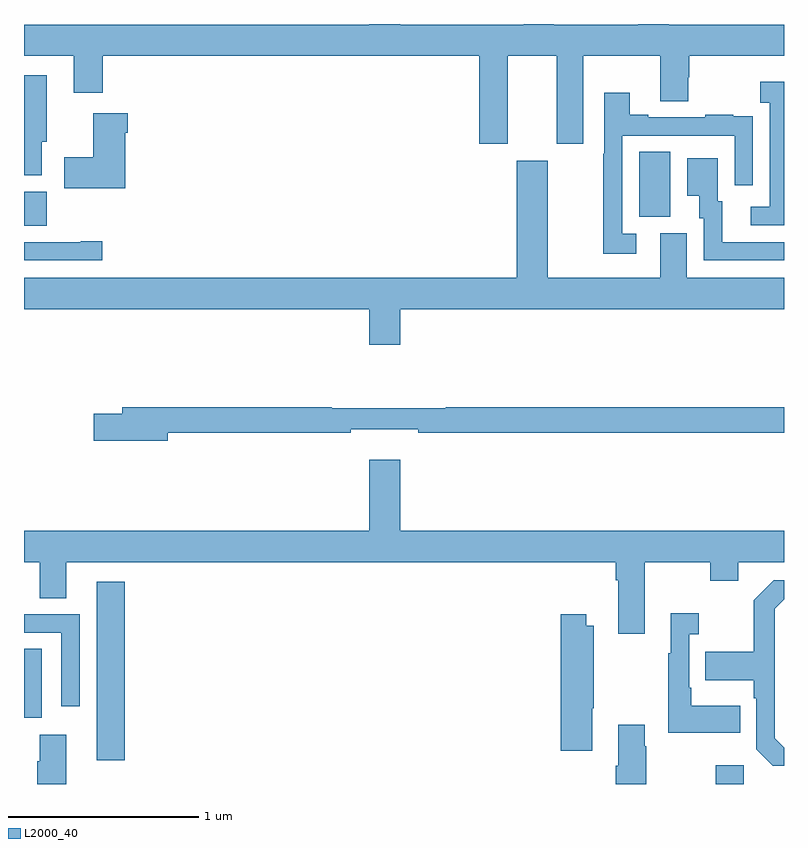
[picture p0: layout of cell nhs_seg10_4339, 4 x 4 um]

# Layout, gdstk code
import gdstk
lib = gdstk.Library(unit=1e-6, precision=1e-09)
def R(c, l, rs):  # rectangles x0, y0, x1, y1
    for r in rs: c.add(gdstk.rectangle(r[:2], r[2:], *l))
def P(c, l, *ps):  # polygons
    for p in ps: c.add(gdstk.Polygon(p, *l))
L2000_40 = (2000, 40)

nhs_seg10_4339 = lib.new_cell('nhs_seg10_4339')
R(nhs_seg10_4339, L2000_40, [(358.642,1280.5,358.788,1280.599), (355.382,1280.625,355.529,1281.565), (355,1280.85,355.093,1281.212), (355,1283.437,355.121,1283.616), (358.238,1283.485,358.402,1283.828)])
P(nhs_seg10_4339, L2000_40, [(357.547,1284.332),(357.803,1284.332),(357.803,1283.871),(357.943,1283.871),(357.943,1284.332),(358.349,1284.332),(358.349,1284.094),(358.497,1284.094),(358.497,1284.219),(358.502,1284.219),(358.502,1284.332),(359,1284.332),(359,1284.496),(358.394,1284.496),(358.394,1284.5),(358.234,1284.5),(358.234,1284.496),(357.789,1284.496),(357.789,1284.5),(357.629,1284.5),(357.629,1284.496),(356.98,1284.496),(356.98,1284.5),(356.816,1284.5),(356.816,1284.496),(355,1284.496),(355,1284.332),(355.262,1284.332),(355.262,1284.138),(355.415,1284.138),(355.415,1284.332),(357.395,1284.332),(357.395,1283.871),(357.547,1283.871)],
  [(355.093,1283.88),(355.12,1283.88),(355.12,1284.229),(355,1284.229),(355,1283.705),(355.093,1283.705)],
  [(359,1284.196),(358.875,1284.196),(358.875,1284.086),(358.926,1284.086),(358.926,1283.538),(358.824,1283.538),(358.824,1283.442),(359,1283.442)],
  [(358.222,1283.397),(358.149,1283.397),(358.149,1283.913),(358.74,1283.913),(358.74,1283.652),(358.836,1283.652),(358.836,1283.906),(358.835,1283.906),(358.835,1284.015),(358.733,1284.015),(358.733,1284.022),(358.585,1284.022),(358.585,1284.009),(358.285,1284.009),(358.285,1284.022),(358.189,1284.022),(358.189,1284.139),(358.053,1284.139),(358.053,1283.816),(358.048,1283.816),(358.048,1283.292),(358.222,1283.292)],
  [(355.534,1283.927),(355.547,1283.927),(355.547,1284.031),(355.364,1284.031),(355.364,1283.799),(355.212,1283.799),(355.212,1283.636),(355.534,1283.636)],
  [(359,1283.352),(358.675,1283.352),(358.675,1283.568),(358.651,1283.568),(358.651,1283.794),(358.49,1283.794),(358.49,1283.597),(358.553,1283.597),(358.553,1283.478),(358.578,1283.478),(358.578,1283.256),(359,1283.256)],
  [(356.98,1283),(359,1283),(359,1283.164),(358.489,1283.164),(358.489,1283.4),(358.349,1283.4),(358.349,1283.164),(357.757,1283.164),(357.757,1283.779),(357.593,1283.779),(357.593,1283.164),(355,1283.164),(355,1283),(356.816,1283),(356.816,1282.812),(356.98,1282.812)],
  [(355.411,1283.357),(355.298,1283.357),(355.298,1283.352),(355,1283.352),(355,1283.256),(355.411,1283.256)],
  [(355.756,1282.348),(356.72,1282.348),(356.72,1282.367),(357.076,1282.367),(357.076,1282.348),(359,1282.348),(359,1282.484),(357.221,1282.484),(357.221,1282.477),(356.621,1282.477),(356.621,1282.484),(355.517,1282.484),(355.517,1282.448),(355.368,1282.448),(355.368,1282.306),(355.756,1282.306)],
  [(358.267,1281.668),(358.612,1281.668),(358.612,1281.569),(358.759,1281.569),(358.759,1281.668),(359,1281.668),(359,1281.832),(356.98,1281.832),(356.98,1282.207),(356.816,1282.207),(356.816,1281.832),(355,1281.832),(355,1281.668),(355.082,1281.668),(355.082,1281.478),(355.222,1281.478),(355.222,1281.668),(358.115,1281.668),(358.115,1281.572),(358.127,1281.572),(358.127,1281.291),(358.267,1281.291)],
  [(359,1280.692),(358.95,1280.742),(358.95,1281.423),(359,1281.473),(359,1281.573),(358.947,1281.573),(358.842,1281.467),(358.842,1281.195),(358.585,1281.195),(358.585,1281.047),(358.842,1281.047),(358.842,1280.951),(358.854,1280.951),(358.854,1280.682),(358.941,1280.595),(359,1280.595)],
  [(358.769,1280.911),(358.513,1280.911),(358.513,1281.007),(358.5,1281.007),(358.5,1281.287),(358.552,1281.287),(358.552,1281.4),(358.403,1281.4),(358.403,1281.187),(358.392,1281.187),(358.392,1280.771),(358.769,1280.771)],
  [(357.991,1280.899),(357.999,1280.899),(357.999,1281.334),(357.958,1281.334),(357.958,1281.394),(357.824,1281.394),(357.824,1280.676),(357.991,1280.676)],
  [(355.293,1281.393),(355,1281.393),(355,1281.297),(355.197,1281.297),(355.197,1280.91),(355.293,1280.91)],
  [(358.275,1280.699),(358.267,1280.699),(358.267,1280.812),(358.127,1280.812),(358.127,1280.596),(358.115,1280.596),(358.115,1280.5),(358.275,1280.5)],
  [(355.082,1280.758),(355.082,1280.621),(355.07,1280.621),(355.07,1280.5),(355.222,1280.5),(355.222,1280.758)])

lib.write_gds('nhs_seg10_4339.gds')
